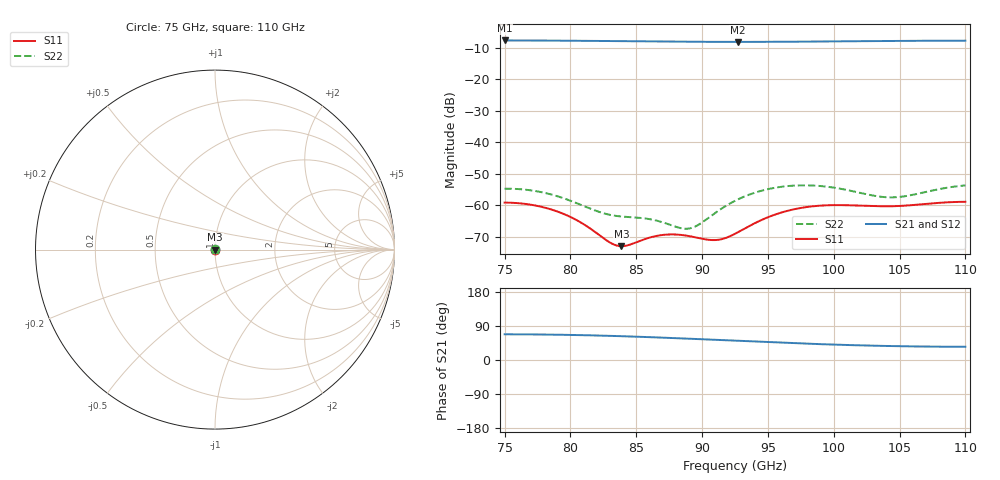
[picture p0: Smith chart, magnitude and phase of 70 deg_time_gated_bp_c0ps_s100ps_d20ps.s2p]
# Hz S RI R 50.000000
! Metas.Vna.Tools, 2.4.7724.19584
! Metas.Vna.Data, 2.4.7724.19560
! Created: UTC 2021.04.29 12:40:11
! FREQ  re:S1,1  im:S1,1  re:S2,1  im:S2,1  re:S1,2  im:S1,2  re:S2,2  im:S2,2
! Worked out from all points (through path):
!   1401 points, 75 GHz to 110 GHz, reference 50 ohm
!   highest |S21| = -7.69 dB at 75 GHz (marker M1); lowest = -8.1 dB at 92.7 GHz (marker M2)
!   lowest |S11| = -72.9 dB at 83.88 GHz (marker M3), VSWR 1.00, Z = 50 + j0.012 ohm
!   |S11| at or under -10 dB: start of sweep to end of sweep
!   |S22| runs from -67.4 to -53.6 dB; largest |S21 - S12| = 0.009
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7.5e10  -0.000501 -0.00099  0.1559 0.382  0.1642 0.3787  -0.000281 0.00182
7.6575e10  -0.000495 -0.000934  0.1568 0.3812  0.1651 0.3779  -0.00065 0.00166
7.81e10  -0.000475 -0.000785  0.1594 0.3788  0.1676 0.3756  -0.000878 0.0013
7.9525e10  -0.000439 -0.00058  0.1634 0.3753  0.1714 0.3723  -0.000956 0.000865
8.085e10  -0.000387 -0.000358  0.1683 0.371  0.1761 0.3681  -0.000918 0.000422
8.3e10  -0.000258 -2.2e-06  0.1786 0.3619  0.1859 0.3594  -0.000677 -0.000213
8.3875e10  -0.000192 0.00012  0.1835 0.3576  0.1906 0.3553  -0.000536 -0.000398
8.6675e10  4.79e-05 0.000329  0.2017 0.3419  0.208 0.3402  -2.53e-05 -0.000565
8.8375e10  0.000179 0.000291  0.2142 0.3312  0.2199 0.33  0.000276 -0.000338
8.915e10  0.000225 0.000232  0.2201 0.3262  0.2256 0.3251  0.000403 -0.000167
8.98e10  0.000254 0.000164  0.2252 0.3219  0.2305 0.321  0.000504 2.45e-06
9.105e10  0.000283 -3.53e-06  0.2351 0.3136  0.24 0.313  0.00068 0.000371
9.1725e10  0.000281 -0.000109  0.2405 0.3091  0.2451 0.3087  0.000765 0.000581
9.25e10  0.000263 -0.000238  0.2468 0.304  0.2511 0.3037  0.000852 0.000822
9.27e10  0.000256 -0.000272  0.2484 0.3026  0.2527 0.3024  0.000872 0.000883
9.405e10  0.000178 -0.000498  0.2592 0.2938  0.263 0.2939  0.000984 0.00126
9.5525e10  4.19e-05 -0.000713  0.2708 0.2845  0.2741 0.2849  0.00104 0.00159
9.835e10  -0.00031 -0.000915  0.2916 0.268  0.2939 0.269  0.000913 0.00186
1.00275e11  -0.000558 -0.000845  0.3041 0.2583  0.3059 0.2596  0.000595 0.00178
1.04175e11  -0.000924 -0.000288  0.3239 0.2432  0.3248 0.2449  -0.000538 0.00123
1.05425e11  -0.00099 -6.87e-05  0.3283 0.2398  0.329 0.2417  -0.000957 0.00102
1.1e11  -0.00108 0.000383  0.3356 0.2343  0.3361 0.2364  -0.00205 0.000345
